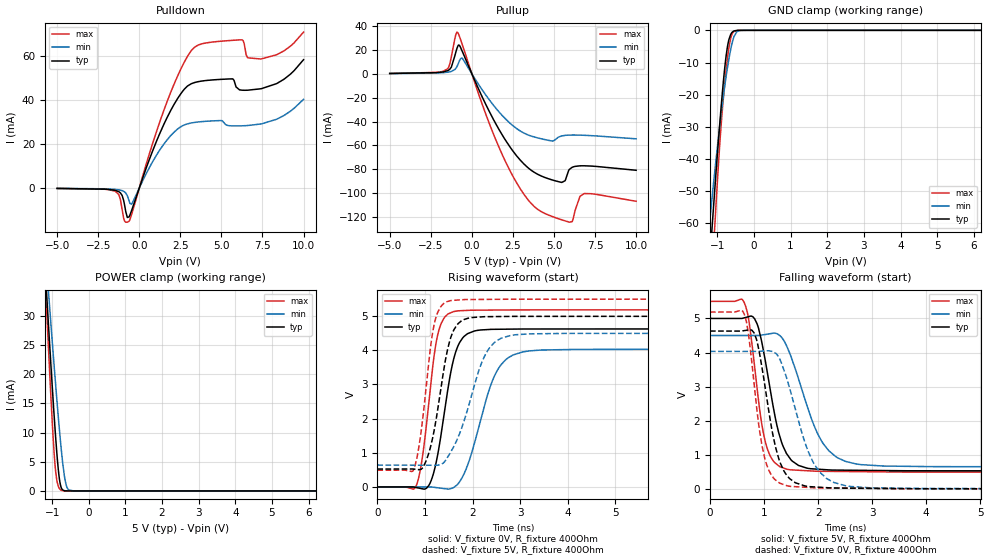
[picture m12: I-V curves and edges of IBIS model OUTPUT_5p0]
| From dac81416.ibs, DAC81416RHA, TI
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|   OUTPUT_5p0 Model
[Model]   OUTPUT_5p0
Model_type   3-state
Polarity   Non-Inverting
Vmeas = 2.5
Vref = 0
Cref = 2pF
Rref = 100000
|   typ   min   max
C_comp   2.727E-12   2.677E-12   2.777E-12
|  Where Nom  PVT is Nominal Process, 5.0V,   25C
|   Fast PVT is Strong Process,  5.5V,  -40C
|   Slow PVT is Weak Process,   4.5V,  125C
[Voltage Range]   5   4.5   5.5
|Junction Temperature
[Temperature Range]   25   125   -40
[Pullup Reference]   5   4.5   5.5
[Pulldown Reference]   0   0   0
[Power Clamp Reference]   5   4.5   5.5
[GND Clamp Reference]   0   0   0
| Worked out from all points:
|   slope of the pulldown table from 0 to 0.75 V, typ, clamps not added: 48 ohm
|   slope of the pullup table from 0 to 0.75 V, typ, clamps not added: 32.9 ohm
|   GND clamp passes 1 mA (typ) near -0.62 V on its own axis
|   POWER clamp passes 1 mA (typ) near -0.77 V on its own axis
|   falling waveform, V_fixture 5V, R_fixture 400Ohm: 20-80 % time 333ps typ, 530ps min, 251ps max; typ from 5 V to 0.525 V
|   rising waveform, V_fixture 0V, R_fixture 400Ohm: 20-80 % time 332ps typ, 516ps min, 263ps max; typ from 0 V to 4.63 V
|   rising waveform, V_fixture 5V, R_fixture 400Ohm: 20-80 % time 331ps typ, 538ps min, 253ps max; typ from 0.525 V to 5 V
|   falling waveform, V_fixture 0V, R_fixture 400Ohm: 20-80 % time 320ps typ, 480ps min, 252ps max; typ from 4.63 V to 0 V
[Pulldown]
|   Voltage   I(typ)   I(min)   I(max)
-5V       -142.3uA   -113.5uA   -137.7uA
-1.475V   -987uA     -569.9uA   -1.337mA
-1.145V   -2.179mA   -925.5uA   -5.231mA
-905mV    -7.204mA   -1.657mA   -14.79mA
-620mV    -13.06mA   -5.763mA   -15.04mA
1.525V    29.36mA    20.24mA    35.84mA
3.19V     47.43mA    29.59mA    62.6mA
5.68V     49.55mA    28.22mA    67.04mA
6.25V     44.43mA    28.26mA    67.25mA
6.595V    44.42mA    28.39mA    59.12mA
7.435V    45.12mA    29.14mA    58.63mA
10V       58.27mA    40.28mA    70.78mA
[GND Clamp]
|   Voltage   I(typ)   I(min)   I(max)
-5V       -789mA     -623mA     -935mA
-1.235V   -76.36mA   -62.58mA   -95.15mA
-1.145V   -61.46mA   -52.17mA   -76.22mA
-1.115V   -56.61mA   -48.79mA   -70.03mA
-1.04V    -44.78mA   -40.6mA    -54.93mA
-920mV    -27.05mA   -28.35mA   -33.09mA
-785mV    -10.32mA   -16.27mA   -15.02mA
-680mV    -2.707mA   -8.61mA    -5.097mA
-620mV    -977.3uA   -5.121mA   -1.874mA
-545mV    -199.7uA   -1.954mA   -345.6uA
-245mV    0A         -1.522uA   0A
10V       0A         0A         0A
[Pullup]
|   Voltage   I(typ)   I(min)   I(max)
-5V       288.4uA    223.8uA    313uA
-1.475V   2.653mA    1.364mA    4.248mA
-905mV    21.43mA    6.207mA    34.96mA
-575mV    18.53mA    12.85mA    24.08mA
1.69V     -47.52mA   -32.5mA    -62.76mA
2.74V     -68.94mA   -45.99mA   -91.64mA
3.79V     -82.43mA   -52.85mA   -111.1mA
5.47V     -90.95mA   -52mA      -122.2mA
5.935V    -80.03mA   -51.3mA    -124.2mA
6.58V     -77.05mA   -51.34mA   -102.5mA
6.835V    -77.01mA   -51.47mA   -100.3mA
10V       -80.77mA   -54.43mA   -106.7mA
[POWER Clamp]
|   Voltage   I(typ)   I(min)   I(max)
-5V       472.3mA    383.7mA    583.3mA
-1.25V    44.55mA    46.92mA    44.54mA
-1.145V   33.26mA    37.97mA    30.42mA
-1.1V     28.51mA    34.18mA    24.53mA
-1.055V   23.83mA    30.43mA    18.82mA
-920mV    10.64mA    19.48mA    4.444mA
-875mV    6.807mA    15.98mA    1.974mA
-815mV    2.747mA    11.53mA    568uA
-740mV    412.6uA    6.489mA    93.14uA
-605mV    4.866uA    801.1uA    2.73uA
-410mV    0A         3.606uA    0A
10V       0A         0A         0A
[Ramp]
R_load = 400
|   typ   min   max
dV/dt_r   2.77828/3.31953e-10   2.42009/5.15686e-10   3.11236/2.63181e-10
dV/dt_f   2.68482/3.31283e-10   2.31487/5.29145e-10   3.00537/2.503e-10
[Falling Waveform]
V_fixture = 5V
V_fixture_min = 4.5V
V_fixture_max = 5.5V
R_fixture = 400Ohm
C_fixture = 0F
|   Time   V(typ)   V(min)   V(max)
0s        5V         4.5V       5.5V
603.3ps   5.005V     4.5V       5.545V
701.6ps   5.047V     4.5V       5.094V
827.8ps   4.983V     4.5V       3.552V
1.051ns   3.505V     4.537V     1.231V
1.239ns   1.856V     4.553V     722.7mV
1.425ns   1.022V     4.166V     583.4mV
2.061ns   578.3mV    1.419V     523.5mV
2.696ns   552.9mV    740.8mV    513.9mV
14.29ns   525.3mV    641.8mV    491.1mV
[Rising Waveform]
V_fixture = 0V
V_fixture_min = 0V
V_fixture_max = 0V
R_fixture = 400Ohm
C_fixture = 0F
|   Time   V(typ)   V(min)   V(max)
0s        83.16uV    545.5uV    2.357uV
817.6ps   -17.07mV   1.114mV    38.96mV
935.9ps   -50.15mV   1.196mV    778.1mV
1.078ns   37.1mV     1.295mV    2.41V
1.265ns   924.9mV    -22.66mV   4.434V
1.601ns   3.727V     -17.61mV   5.133V
1.896ns   4.487V     638.9mV    5.169V
2.507ns   4.616V     3.378V     5.179V
3.048ns   4.624V     3.95V      5.183V
14.29ns   4.631V     4.034V     5.187V
[Rising Waveform]
V_fixture = 5V
V_fixture_min = 4.5V
V_fixture_max = 5.5V
R_fixture = 400Ohm
C_fixture = 0F
|   Time   V(typ)   V(min)   V(max)
0s        525.3mV    641.8mV    491.1mV
761.6ps   523.7mV    637.8mV    503.5mV
867.4ps   507.8mV    637.2mV    1.128V
966ps     590.7mV    636.7mV    2.155V
1.192ns   1.651V     635.5mV    4.749V
1.514ns   4.239V     954.3mV    5.446V
1.76ns    4.855V     1.679V     5.478V
2.259ns   4.984V     3.846V     5.49V
2.795ns   4.992V     4.432V     5.495V
14.29ns   5V         4.5V       5.5V
[Falling Waveform]
|Gnd
V_fixture = 0V
V_fixture_min = 0V
V_fixture_max = 0V
R_fixture = 400Ohm
C_fixture = 0F
|   Time   V(typ)   V(min)   V(max)
0s        4.631V     4.034V     5.187V
603.3ps   4.635V     4.034V     5.215V
701.6ps   4.661V     4.033V     4.653V
818.4ps   4.564V     4.033V     3.05V
1.051ns   2.663V     4.051V     705.2mV
1.211ns   1.236V     3.982V     271mV
1.425ns   397.8mV    3.214V     99.63mV
1.922ns   66.43mV    751.1mV    41.19mV
2.556ns   30.93mV    88.23mV    27.32mV
14.29ns   86.36uV    555.4uV    1.028uV
